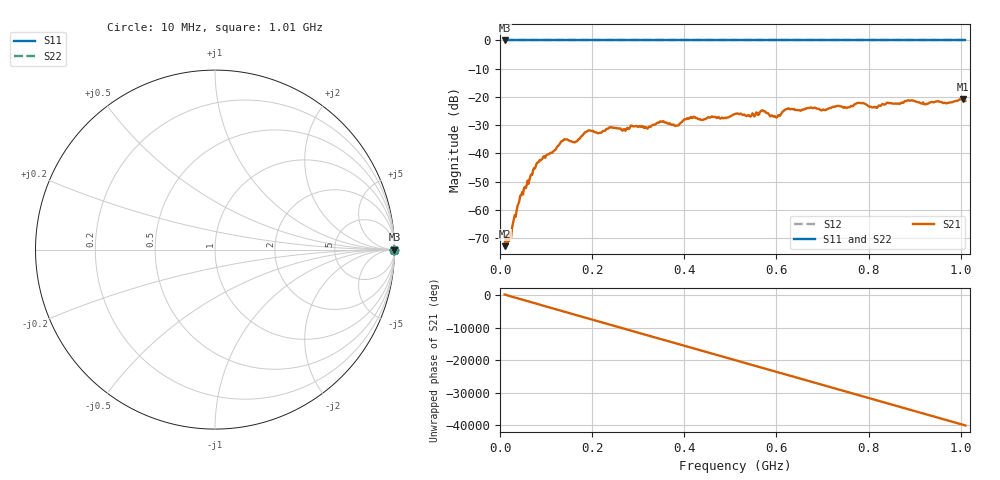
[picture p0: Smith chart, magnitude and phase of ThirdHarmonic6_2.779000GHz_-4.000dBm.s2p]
! 8/17/2025 7:06:53 AM
! C:\ANRITSUVNA\TEMP\TEMP.S2P
! CHANNEL.1
! TR.MEASUREMENT
! RAW.DATA
! RF.CORRECTION.OFF
! AVERAGING.OFF
! IF.BANDWIDTH: 5KHZ
! SWEEPTYPE:  FREQ.SWEEP(Linear)
! Reference Plane Port Info
! PORT:  PORT1  PORT2
! DISTANCE:  0  m  0  m
! TIME:  0  s  0  s
! PHASE.OFFSET:  0  deg.  0  deg.
! LOSS:  0  dB  0  dB
! REF.LOSS:  0  dB  0  dB
! REF.FREQ:  0  Hz  0  Hz
! Power Info
! POWER:  -20  dBm  -20  dBm
! EFF.POWER:  -20  dBm  -20  dBm
! SOURCE.ATTEN:  0  dB  0  dB
! TEST.ATTEN:  0  dB  0  dB
# GHZ S RI R 50.0
! FREQ.GHZ  S11RE  S11IM  S21RE  S21IM  S12RE  S12IM  S22RE  S22IM
!; PortSelection: Port_12
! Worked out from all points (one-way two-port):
!   501 points, 10 MHz to 1.01 GHz, reference 50 ohm
!   highest |S21| = -20.82 dB at 1.004 GHz (marker M1); lowest = -72.8 dB at 10 MHz (marker M2)
!   lowest |S11| = 0.0 dB at 10 MHz (marker M3)
!   |S11| at or under -10 dB: nowhere
!   |S22| runs from 0.0 to 0.0 dB; largest |S21 - S12| = 1.1
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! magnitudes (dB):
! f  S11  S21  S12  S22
! 10 MHz  0.0  -72.8  0.0  0.0
! 20 MHz  0.0  -71.0  0.0  0.0
! 44 MHz  0.0  -55.0  0.0  0.0
! 82 MHz  0.0  -43.3  0.0  0.0
! 136 MHz  0.0  -35.6  0.0  0.0
! 162 MHz  0.0  -36.1  0.0  0.0
! 178 MHz  0.0  -33.8  0.0  0.0
! 192 MHz  0.0  -31.9  0.0  0.0
! 318 MHz  0.0  -30.9  0.0  0.0
! 344 MHz  0.0  -29.2  0.0  0.0
! 384 MHz  0.0  -30.1  0.0  0.0
! 416 MHz  0.0  -27.4  0.0  0.0
! 510 MHz  0.0  -26.0  0.0  0.0
! 570 MHz  0.0  -24.8  0.0  0.0
! 598 MHz  0.0  -27.1  0.0  0.0
! 622 MHz  0.0  -24.3  0.0  0.0
! 678 MHz  0.0  -24.0  0.0  0.0
! 780 MHz  0.0  -22.1  0.0  0.0
! 814 MHz  0.0  -23.5  0.0  0.0
! 844 MHz  0.0  -22.2  0.0  0.0
! 1.004 GHz  0.0  -20.8  0.0  0.0
! 1.01 GHz  0.0  -21.4  0.0  0.0
